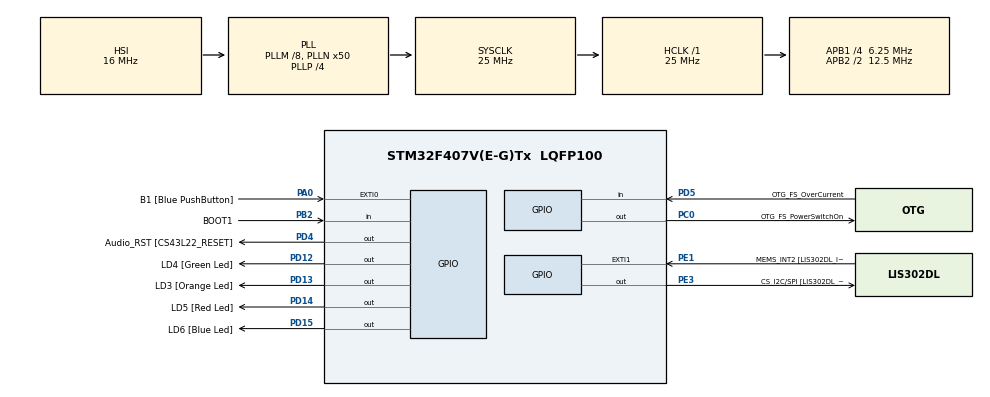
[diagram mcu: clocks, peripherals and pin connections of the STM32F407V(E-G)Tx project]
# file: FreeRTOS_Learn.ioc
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Mcu.Family=STM32F4
Mcu.Name=STM32F407V(E-G)Tx
Mcu.Package=LQFP100
NVIC.PriorityGroup=NVIC_PRIORITYGROUP_4
NVIC.TIM6_DAC_IRQn=true\:0\:0\:false\:false\:true\:false\:true\:true
NVIC.TimeBase=TIM6_DAC_IRQn
NVIC.TimeBaseIP=TIM6
PA0-WKUP.GPIO_Label=B1 [Blue PushButton]
PA0-WKUP.Signal=GPXTI0
PA10.GPIO_Label=OTG_FS_ID
PA10.GPIO_Mode=GPIO_MODE_AF_PP
PA10.GPIO_PuPd=GPIO_NOPULL
PA10.GPIO_Speed=GPIO_SPEED_FREQ_LOW
PA10.Signal=USB_OTG_FS_ID
PA11.GPIO_Label=OTG_FS_DM
PA11.GPIO_Mode=GPIO_MODE_AF_PP
PA11.GPIO_PuPd=GPIO_NOPULL
PA11.GPIO_Speed=GPIO_SPEED_FREQ_LOW
PA11.Signal=USB_OTG_FS_DM
PA12.GPIO_Label=OTG_FS_DP
PA12.GPIO_Mode=GPIO_MODE_AF_PP
PA12.GPIO_PuPd=GPIO_NOPULL
PA12.GPIO_Speed=GPIO_SPEED_FREQ_LOW
PA12.Signal=USB_OTG_FS_DP
PA13.GPIO_Label=SWDIO
PA13.Signal=SYS_JTMS-SWDIO
PA14.GPIO_Label=SWCLK
PA14.Signal=SYS_JTCK-SWCLK
PA4.GPIO_Label=I2S3_WS [CS43L22_LRCK]
PA4.GPIO_Mode=GPIO_MODE_AF_PP
PA4.GPIO_PuPd=GPIO_NOPULL
PA4.GPIO_Speed=GPIO_SPEED_FREQ_LOW
PA4.Signal=I2S3_WS
PA5.GPIO_Label=SPI1_SCK [LIS302DL_SCL/SPC]
PA5.GPIO_Mode=GPIO_MODE_AF_PP
PA5.GPIO_PuPd=GPIO_NOPULL
PA5.GPIO_Speed=GPIO_SPEED_FREQ_LOW
PA5.Signal=SPI1_SCK
PA6.GPIO_Label=SPI1_MISO [LIS302DL_SDO]
PA6.GPIO_Mode=GPIO_MODE_AF_PP
PA6.GPIO_PuPd=GPIO_NOPULL
PA6.GPIO_Speed=GPIO_SPEED_FREQ_LOW
PA6.Signal=SPI1_MISO
PA7.GPIO_Label=SPI1_MOSI [LIS302DL_SDA/SDI/SDO]
PA7.GPIO_Mode=GPIO_MODE_AF_PP
PA7.GPIO_PuPd=GPIO_NOPULL
PA7.GPIO_Speed=GPIO_SPEED_FREQ_LOW
PA7.Signal=SPI1_MOSI
PA9.GPIO_Label=VBUS_FS
PA9.GPIO_Mode=GPIO_MODE_INPUT
PA9.GPIO_PuPd=GPIO_NOPULL
PA9.Signal=USB_OTG_FS_VBUS
PB10.GPIO_Label=CLK_IN [MP45DT02_CLK]
PB10.GPIO_Mode=GPIO_MODE_AF_PP
PB10.GPIO_PuPd=GPIO_NOPULL
PB10.GPIO_Speed=GPIO_SPEED_FREQ_LOW
PB10.Signal=I2S2_CK
PB2.GPIO_Label=BOOT1
PB2.GPIO_Mode=GPIO_MODE_INPUT
PB2.GPIO_PuPd=GPIO_NOPULL
PB2.Signal=GPIO_Input
PB3.GPIO_Label=SWO
PB3.Signal=SYS_JTDO-SWO
PB6.GPIO_Label=Audio_SCL [CS43L22_SCL]
PB6.GPIO_Mode=GPIO_MODE_AF_OD
PB6.GPIO_PuPd=GPIO_NOPULL
PB6.GPIO_Speed=GPIO_SPEED_FREQ_LOW
PB6.Signal=I2C1_SCL
PB9.GPIO_Label=Audio_SDA [CS43L22_SDA]
PB9.GPIO_Mode=GPIO_MODE_AF_OD
PB9.GPIO_PuPd=GPIO_NOPULL
PB9.GPIO_Speed=GPIO_SPEED_FREQ_LOW
PB9.Signal=I2C1_SDA
PC0.GPIO_Label=OTG_FS_PowerSwitchOn
PC0.GPIO_PuPd=GPIO_NOPULL
PC0.GPIO_Speed=GPIO_SPEED_FREQ_LOW
PC0.PinState=GPIO_PIN_SET
PC0.Signal=GPIO_Output
PC10.GPIO_Label=I2S3_SCK [CS43L22_SCLK]
PC10.GPIO_Mode=GPIO_MODE_AF_PP
PC10.GPIO_PuPd=GPIO_NOPULL
PC10.GPIO_Speed=GPIO_SPEED_FREQ_LOW
PC10.Signal=I2S3_CK
PC12.GPIO_Label=I2S3_SD [CS43L22_SDIN]
PC12.GPIO_Mode=GPIO_MODE_AF_PP
PC12.GPIO_PuPd=GPIO_NOPULL
PC12.GPIO_Speed=GPIO_SPEED_FREQ_LOW
PC12.Signal=I2S3_SD
PC14-OSC32_IN.GPIO_Label=PC14-OSC32_IN
PC14-OSC32_IN.Signal=RCC_OSC32_IN
PC15-OSC32_OUT.GPIO_Label=PC15-OSC32_OUT
PC15-OSC32_OUT.Signal=RCC_OSC32_OUT
PC3.GPIO_Label=PDM_OUT [MP45DT02_DOUT]
PC3.GPIO_Mode=GPIO_MODE_AF_PP
PC3.GPIO_PuPd=GPIO_NOPULL
PC3.GPIO_Speed=GPIO_SPEED_FREQ_LOW
PC3.Signal=I2S2_SD
PC7.GPIO_Label=I2S3_MCK [CS43L22_MCLK]
PC7.GPIO_Mode=GPIO_MODE_AF_PP
PC7.GPIO_PuPd=GPIO_NOPULL
PC7.GPIO_Speed=GPIO_SPEED_FREQ_LOW
PC7.Signal=I2S3_MCK
PD12.GPIO_Label=LD4 [Green Led]
PD12.GPIO_PuPd=GPIO_NOPULL
PD12.GPIO_Speed=GPIO_SPEED_FREQ_LOW
PD12.Signal=GPIO_Output
PD13.GPIO_Label=LD3 [Orange Led]
PD13.GPIO_PuPd=GPIO_NOPULL
PD13.GPIO_Speed=GPIO_SPEED_FREQ_LOW
PD13.Signal=GPIO_Output
PD14.GPIO_Label=LD5 [Red Led]
PD14.GPIO_PuPd=GPIO_NOPULL
PD14.GPIO_Speed=GPIO_SPEED_FREQ_LOW
PD14.Signal=GPIO_Output
PD15.GPIO_Label=LD6 [Blue Led]
PD15.GPIO_PuPd=GPIO_NOPULL
PD15.GPIO_Speed=GPIO_SPEED_FREQ_LOW
PD15.Signal=GPIO_Output
PD4.GPIO_Label=Audio_RST [CS43L22_RESET]
PD4.GPIO_PuPd=GPIO_NOPULL
PD4.GPIO_Speed=GPIO_SPEED_FREQ_LOW
PD4.Signal=GPIO_Output
PD5.GPIO_Label=OTG_FS_OverCurrent
PD5.GPIO_Mode=GPIO_MODE_INPUT
PD5.GPIO_PuPd=GPIO_NOPULL
PD5.Signal=GPIO_Input
PE1.GPIO_Label=MEMS_INT2 [LIS302DL_INT2]
PE1.GPIO_ModeDefaultEXTI=GPIO_MODE_EVT_RISING
PE1.GPIO_PuPd=GPIO_NOPULL
PE1.Signal=GPXTI1
PE3.GPIO_Label=CS_I2C/SPI [LIS302DL_CS_I2C/SPI]
PE3.GPIO_PuPd=GPIO_NOPULL
PE3.GPIO_Speed=GPIO_SPEED_FREQ_LOW
PE3.Signal=GPIO_Output
PH0-OSC_IN.GPIO_Label=PH0-OSC_IN
PH0-OSC_IN.Signal=RCC_OSC_IN
PH1-OSC_OUT.GPIO_Label=PH1-OSC_OUT
PH1-OSC_OUT.Signal=RCC_OSC_OUT
ProjectManager.HeapSize=0x200
ProjectManager.StackSize=0x400
ProjectManager.TargetToolchain=STM32CubeIDE
RCC.48MHZClocksFreq_Value=14285714.285714285
RCC.AHBFreq_Value=25000000
RCC.APB1CLKDivider=RCC_HCLK_DIV4
RCC.APB1Freq_Value=6250000
RCC.APB1TimFreq_Value=12500000
RCC.APB2CLKDivider=RCC_HCLK_DIV2
RCC.APB2Freq_Value=12500000
RCC.APB2TimFreq_Value=25000000
RCC.CortexFreq_Value=25000000
RCC.HCLKFreq_Value=25000000
RCC.HSE_VALUE=8000000
RCC.HSI_VALUE=16000000
RCC.LSE_VALUE=32768
RCC.PLLM=8
RCC.PLLN=50
RCC.PLLP=RCC_PLLP_DIV4
RCC.PLLQ=7
RCC.SYSCLKFreq_VALUE=25000000
RCC.SYSCLKSource=RCC_SYSCLKSOURCE_PLLCLK
RCC.VCOOutputFreq_Value=100000000
VP_SYS_VS_tim6.Mode=TIM6
board=STM32F407G-DISC1

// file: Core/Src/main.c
/* USER CODE BEGIN Header */
/**
  ******************************************************************************
  * @file           : main.c
  * @brief          : Main program body
  ******************************************************************************
  * @attention
  *
  * Copyright (c) 2025 STMicroelectronics.
  * All rights reserved.
  *
  * This software is licensed under terms that can be found in the LICENSE file
  * in the root directory of this software component.
  * If no LICENSE file comes with this software, it is provided AS-IS.
  *
  ******************************************************************************
  */
/* USER CODE END Header */
#include "main.h"

/* USER CODE BEGIN Includes */
#include"FreeRTOS.h"
#include"task.h"
#include<stdio.h>
/* USER CODE END Includes */

/* USER CODE BEGIN PM */
#define DWT_CTRl (*(volatile uint32_t*)0xE0001000)
/* USER CODE END PM */

void SystemClock_Config(void);
static void MX_GPIO_Init(void);
/* USER CODE BEGIN PFP */
static void Task1_Handler(void* par);
static void Task2_Handler(void* par);

/* USER CODE END PFP */

int main(void)
{
  /* USER CODE BEGIN 1 */
	TaskHandle_t Task1_hand,Task2_hand;
	BaseType_t Task1_Status,Task2_Status;
  /* USER CODE END 1 */

  /* MCU Configuration--------------------------------------------------------*/

  /* Reset of all peripherals, Initializes the Flash interface and the Systick. */
  HAL_Init();

  /* Configure the system clock */
  SystemClock_Config();

  /* Initialize all configured peripherals */
  MX_GPIO_Init();
  /* USER CODE BEGIN 2 */
  DWT_CTRl |= (1<<0); //for time keeping , to maintain time stamp information
  SEGGER_SYSVIEW_Conf();
  SEGGER_SYSVIEW_Start();
  Task1_Status = xTaskCreate(Task1_Handler, "Task_1", 200, "Venk_Task1", 2, &Task1_hand);
  configASSERT(Task1_Status == pdPASS);
  Task2_Status = xTaskCreate(Task2_Handler, "Task_2", 200, "Shubh_Task2", 2, &Task2_hand);
  configASSERT(Task2_Status == pdPASS);
  vTaskStartScheduler();
  /* USER CODE END 2 */

  /* Infinite loop */
  while (1)
  {

  }
}

void SystemClock_Config(void)
{
  RCC_OscInitTypeDef RCC_OscInitStruct = {0};
  RCC_ClkInitTypeDef RCC_ClkInitStruct = {0};

  /** Configure the main internal regulator output voltage
  */
  __HAL_RCC_PWR_CLK_ENABLE();
  __HAL_PWR_VOLTAGESCALING_CONFIG(PWR_REGULATOR_VOLTAGE_SCALE1);

  /** Initializes the RCC Oscillators according to the specified parameters
  * in the RCC_OscInitTypeDef structure.
  */
  RCC_OscInitStruct.OscillatorType = RCC_OSCILLATORTYPE_HSI;
  RCC_OscInitStruct.HSIState = RCC_HSI_ON;
  RCC_OscInitStruct.HSICalibrationValue = RCC_HSICALIBRATION_DEFAULT;
  RCC_OscInitStruct.PLL.PLLState = RCC_PLL_ON;
  RCC_OscInitStruct.PLL.PLLSource = RCC_PLLSOURCE_HSI;
  RCC_OscInitStruct.PLL.PLLM = 8;
  RCC_OscInitStruct.PLL.PLLN = 50;
  RCC_OscInitStruct.PLL.PLLP = RCC_PLLP_DIV4;
  RCC_OscInitStruct.PLL.PLLQ = 7;
  if (HAL_RCC_OscConfig(&RCC_OscInitStruct) != HAL_OK)
  {
    Error_Handler();
  }

  /** Initializes the CPU, AHB and APB buses clocks
  */
  RCC_ClkInitStruct.ClockType = RCC_CLOCKTYPE_HCLK|RCC_CLOCKTYPE_SYSCLK
                              |RCC_CLOCKTYPE_PCLK1|RCC_CLOCKTYPE_PCLK2;
  RCC_ClkInitStruct.SYSCLKSource = RCC_SYSCLKSOURCE_PLLCLK;
  RCC_ClkInitStruct.AHBCLKDivider = RCC_SYSCLK_DIV1;
  RCC_ClkInitStruct.APB1CLKDivider = RCC_HCLK_DIV4;
  RCC_ClkInitStruct.APB2CLKDivider = RCC_HCLK_DIV2;

  if (HAL_RCC_ClockConfig(&RCC_ClkInitStruct, FLASH_LATENCY_0) != HAL_OK)
  {
    Error_Handler();
  }
}

static void MX_GPIO_Init(void)
{
  GPIO_InitTypeDef GPIO_InitStruct = {0};

  /* GPIO Ports Clock Enable */
  __HAL_RCC_GPIOE_CLK_ENABLE();
  __HAL_RCC_GPIOC_CLK_ENABLE();
  __HAL_RCC_GPIOH_CLK_ENABLE();
  __HAL_RCC_GPIOA_CLK_ENABLE();
  __HAL_RCC_GPIOB_CLK_ENABLE();
  __HAL_RCC_GPIOD_CLK_ENABLE();

  /*Configure GPIO pin Output Level */
  HAL_GPIO_WritePin(CS_I2C_SPI_GPIO_Port, CS_I2C_SPI_Pin, GPIO_PIN_RESET);

  /*Configure GPIO pin Output Level */
  HAL_GPIO_WritePin(OTG_FS_PowerSwitchOn_GPIO_Port, OTG_FS_PowerSwitchOn_Pin, GPIO_PIN_SET);

  /*Configure GPIO pin Output Level */
  HAL_GPIO_WritePin(GPIOD, LD4_Pin|LD3_Pin|LD5_Pin|LD6_Pin
                          |Audio_RST_Pin, GPIO_PIN_RESET);

  /*Configure GPIO pin : CS_I2C_SPI_Pin */
  GPIO_InitStruct.Pin = CS_I2C_SPI_Pin;
  GPIO_InitStruct.Mode = GPIO_MODE_OUTPUT_PP;
  GPIO_InitStruct.Pull = GPIO_NOPULL;
  GPIO_InitStruct.Speed = GPIO_SPEED_FREQ_LOW;
  HAL_GPIO_Init(CS_I2C_SPI_GPIO_Port, &GPIO_InitStruct);

  /*Configure GPIO pin : OTG_FS_PowerSwitchOn_Pin */
  GPIO_InitStruct.Pin = OTG_FS_PowerSwitchOn_Pin;
  GPIO_InitStruct.Mode = GPIO_MODE_OUTPUT_PP;
  GPIO_InitStruct.Pull = GPIO_NOPULL;
  GPIO_InitStruct.Speed = GPIO_SPEED_FREQ_LOW;
  HAL_GPIO_Init(OTG_FS_PowerSwitchOn_GPIO_Port, &GPIO_InitStruct);

  /*Configure GPIO pin : PDM_OUT_Pin */
  GPIO_InitStruct.Pin = PDM_OUT_Pin;
  GPIO_InitStruct.Mode = GPIO_MODE_AF_PP;
  GPIO_InitStruct.Pull = GPIO_NOPULL;
  GPIO_InitStruct.Speed = GPIO_SPEED_FREQ_LOW;
  GPIO_InitStruct.Alternate = GPIO_AF5_SPI2;
  HAL_GPIO_Init(PDM_OUT_GPIO_Port, &GPIO_InitStruct);

  /*Configure GPIO pin : B1_Pin */
  GPIO_InitStruct.Pin = B1_Pin;
  GPIO_InitStruct.Mode = GPIO_MODE_IT_RISING;
  GPIO_InitStruct.Pull = GPIO_NOPULL;
  HAL_GPIO_Init(B1_GPIO_Port, &GPIO_InitStruct);

  /*Configure GPIO pin : I2S3_WS_Pin */
  GPIO_InitStruct.Pin = I2S3_WS_Pin;
  GPIO_InitStruct.Mode = GPIO_MODE_AF_PP;
  GPIO_InitStruct.Pull = GPIO_NOPULL;
  GPIO_InitStruct.Speed = GPIO_SPEED_FREQ_LOW;
  GPIO_InitStruct.Alternate = GPIO_AF6_SPI3;
  HAL_GPIO_Init(I2S3_WS_GPIO_Port, &GPIO_InitStruct);

  /*Configure GPIO pins : SPI1_SCK_Pin SPI1_MISO_Pin SPI1_MOSI_Pin */
  GPIO_InitStruct.Pin = SPI1_SCK_Pin|SPI1_MISO_Pin|SPI1_MOSI_Pin;
  GPIO_InitStruct.Mode = GPIO_MODE_AF_PP;
  GPIO_InitStruct.Pull = GPIO_NOPULL;
  GPIO_InitStruct.Speed = GPIO_SPEED_FREQ_LOW;
  GPIO_InitStruct.Alternate = GPIO_AF5_SPI1;
  HAL_GPIO_Init(GPIOA, &GPIO_InitStruct);

  /*Configure GPIO pin : BOOT1_Pin */
  GPIO_InitStruct.Pin = BOOT1_Pin;
  GPIO_InitStruct.Mode = GPIO_MODE_INPUT;
  GPIO_InitStruct.Pull = GPIO_NOPULL;
  HAL_GPIO_Init(BOOT1_GPIO_Port, &GPIO_InitStruct);

  /*Configure GPIO pin : CLK_IN_Pin */
  GPIO_InitStruct.Pin = CLK_IN_Pin;
  GPIO_InitStruct.Mode = GPIO_MODE_AF_PP;
  GPIO_InitStruct.Pull = GPIO_NOPULL;
  GPIO_InitStruct.Speed = GPIO_SPEED_FREQ_LOW;
  GPIO_InitStruct.Alternate = GPIO_AF5_SPI2;
  HAL_GPIO_Init(CLK_IN_GPIO_Port, &GPIO_InitStruct);

  /*Configure GPIO pins : LD4_Pin LD3_Pin LD5_Pin LD6_Pin
                           Audio_RST_Pin */
  GPIO_InitStruct.Pin = LD4_Pin|LD3_Pin|LD5_Pin|LD6_Pin
                          |Audio_RST_Pin;
  GPIO_InitStruct.Mode = GPIO_MODE_OUTPUT_PP;
  GPIO_InitStruct.Pull = GPIO_NOPULL;
  GPIO_InitStruct.Speed = GPIO_SPEED_FREQ_LOW;
  HAL_GPIO_Init(GPIOD, &GPIO_InitStruct);

  /*Configure GPIO pins : I2S3_MCK_Pin I2S3_SCK_Pin I2S3_SD_Pin */
  GPIO_InitStruct.Pin = I2S3_MCK_Pin|I2S3_SCK_Pin|I2S3_SD_Pin;
  GPIO_InitStruct.Mode = GPIO_MODE_AF_PP;
  GPIO_InitStruct.Pull = GPIO_NOPULL;
  GPIO_InitStruct.Speed = GPIO_SPEED_FREQ_LOW;
  GPIO_InitStruct.Alternate = GPIO_AF6_SPI3;
  HAL_GPIO_Init(GPIOC, &GPIO_InitStruct);

  /*Configure GPIO pin : VBUS_FS_Pin */
  GPIO_InitStruct.Pin = VBUS_FS_Pin;
  GPIO_InitStruct.Mode = GPIO_MODE_INPUT;
  GPIO_InitStruct.Pull = GPIO_NOPULL;
  HAL_GPIO_Init(VBUS_FS_GPIO_Port, &GPIO_InitStruct);

  /*Configure GPIO pins : OTG_FS_ID_Pin OTG_FS_DM_Pin OTG_FS_DP_Pin */
  GPIO_InitStruct.Pin = OTG_FS_ID_Pin|OTG_FS_DM_Pin|OTG_FS_DP_Pin;
  GPIO_InitStruct.Mode = GPIO_MODE_AF_PP;
  GPIO_InitStruct.Pull = GPIO_NOPULL;
  GPIO_InitStruct.Speed = GPIO_SPEED_FREQ_LOW;
  GPIO_InitStruct.Alternate = GPIO_AF10_OTG_FS;
  HAL_GPIO_Init(GPIOA, &GPIO_InitStruct);

  /*Configure GPIO pin : OTG_FS_OverCurrent_Pin */
  GPIO_InitStruct.Pin = OTG_FS_OverCurrent_Pin;
  GPIO_InitStruct.Mode = GPIO_MODE_INPUT;
  GPIO_InitStruct.Pull = GPIO_NOPULL;
  HAL_GPIO_Init(OTG_FS_OverCurrent_GPIO_Port, &GPIO_InitStruct);

  /*Configure GPIO pins : Audio_SCL_Pin Audio_SDA_Pin */
  GPIO_InitStruct.Pin = Audio_SCL_Pin|Audio_SDA_Pin;
  GPIO_InitStruct.Mode = GPIO_MODE_AF_OD;
  GPIO_InitStruct.Pull = GPIO_NOPULL;
  GPIO_InitStruct.Speed = GPIO_SPEED_FREQ_LOW;
  GPIO_InitStruct.Alternate = GPIO_AF4_I2C1;
  HAL_GPIO_Init(GPIOB, &GPIO_InitStruct);

  /*Configure GPIO pin : MEMS_INT2_Pin */
  GPIO_InitStruct.Pin = MEMS_INT2_Pin;
  GPIO_InitStruct.Mode = GPIO_MODE_EVT_RISING;
  GPIO_InitStruct.Pull = GPIO_NOPULL;
  HAL_GPIO_Init(MEMS_INT2_GPIO_Port, &GPIO_InitStruct);

}

/* USER CODE BEGIN 4 */
static void Task1_Handler(void* par)
{
	while(1)
	{
		printf("%s\n",(char*)par);
	}
}
static void Task2_Handler(void* par)
{
	while(1)
	{
		printf("%s\n",(char*)par);
	}
}
/* USER CODE END 4 */

void HAL_TIM_PeriodElapsedCallback(TIM_HandleTypeDef *htim)
{
  if (htim->Instance == TIM6) {
    HAL_IncTick();
  }
}

void Error_Handler(void)
{
  __disable_irq();
  while (1)
  {
  }
}
